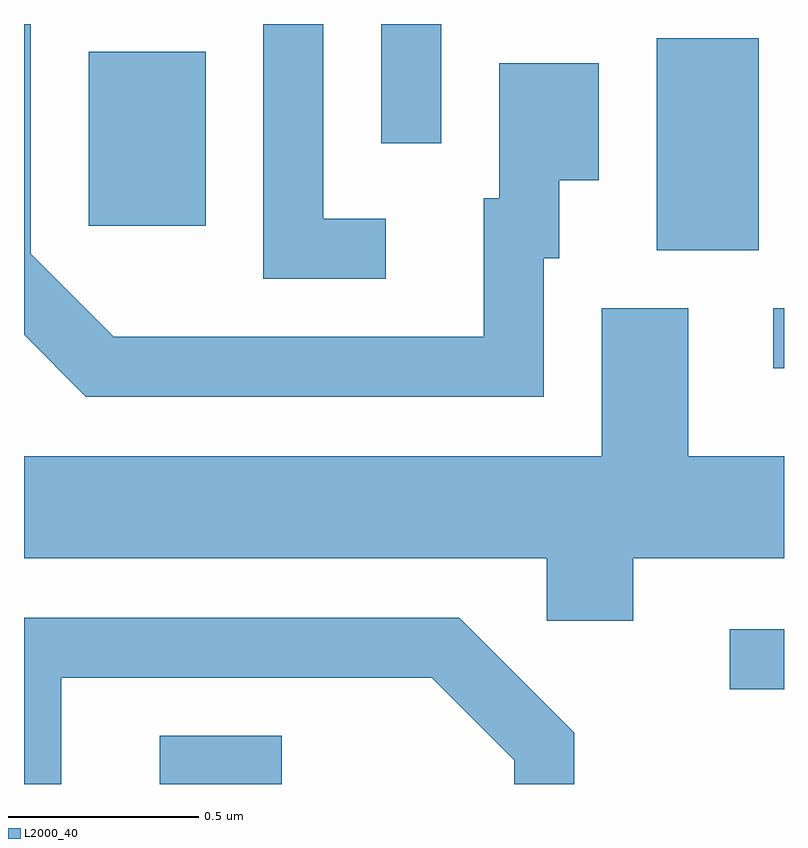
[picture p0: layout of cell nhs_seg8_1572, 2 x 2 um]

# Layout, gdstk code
import gdstk
lib = gdstk.Library(unit=1e-6, precision=1e-09)
def R(c, l, rs):  # rectangles x0, y0, x1, y1
    for r in rs: c.add(gdstk.rectangle(r[:2], r[2:], *l))
def P(c, l, *ps):  # polygons
    for p in ps: c.add(gdstk.Polygon(p, *l))
L2000_40 = (2000, 40)

nhs_seg8_1572 = lib.new_cell('nhs_seg8_1572')
R(nhs_seg8_1572, L2000_40, [(196.968,1871.342,197.289,1871.469), (198.468,1871.591,198.611,1871.749), (198.583,1872.436,198.611,1872.594), (198.276,1872.746,198.544,1873.304), (196.781,1872.811,197.089,1873.269), (197.551,1873.028,197.709,1873.342)])
P(nhs_seg8_1572, L2000_40, [(197.563,1872.829),(197.399,1872.829),(197.399,1873.342),(197.241,1873.342),(197.241,1872.671),(197.563,1872.671)],
  [(197.979,1872.726),(198.019,1872.726),(198.019,1872.931),(198.124,1872.931),(198.124,1873.239),(197.861,1873.239),(197.861,1872.884),(197.821,1872.884),(197.821,1872.519),(196.847,1872.519),(196.629,1872.737),(196.629,1873.342),(196.611,1873.342),(196.611,1872.524),(196.774,1872.361),(197.979,1872.361)],
  [(198.214,1871.936),(198.611,1871.936),(198.611,1872.204),(198.359,1872.204),(198.359,1872.594),(198.131,1872.594),(198.131,1872.204),(196.611,1872.204),(196.611,1871.936),(197.986,1871.936),(197.986,1871.771),(198.214,1871.771)],
  [(196.709,1871.621),(197.684,1871.621),(197.901,1871.404),(197.901,1871.342),(198.059,1871.342),(198.059,1871.477),(197.757,1871.779),(196.611,1871.779),(196.611,1871.342),(196.709,1871.342)])

lib.write_gds('nhs_seg8_1572.gds')
